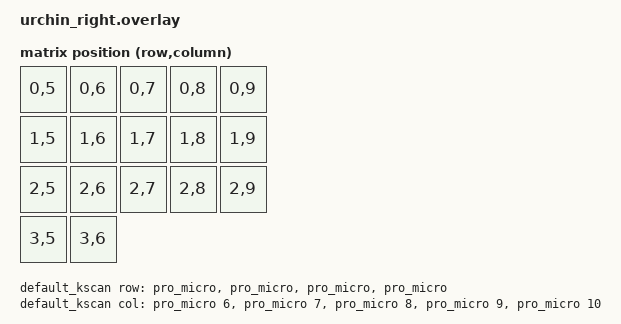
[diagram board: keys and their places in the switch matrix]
#include <dt-bindings/zmk/matrix_transform.h>

/ {
	chosen {
		zmk,kscan = &default_kscan;
		zmk,matrix_transform = &default_transform;
	};

default_kscan: kscan {
		       compatible = "zmk,kscan-gpio-matrix";
		       label = "default_kscan";
	       	       diode-direction = "col2row";

		       row-gpios = <&pro_micro 2(GPIO_ACTIVE_HIGH | GPIO_PULL_DOWN)>,
			           <&pro_micro 3(GPIO_ACTIVE_HIGH | GPIO_PULL_DOWN)>,
				   <&pro_micro 4(GPIO_ACTIVE_HIGH | GPIO_PULL_DOWN)>,
			           <&pro_micro 5(GPIO_ACTIVE_HIGH | GPIO_PULL_DOWN)>;

		       col-gpios = <&pro_micro 6 GPIO_ACTIVE_HIGH>,
			           <&pro_micro 7 GPIO_ACTIVE_HIGH>,
			           <&pro_micro 8 GPIO_ACTIVE_HIGH>,
			           <&pro_micro 9 GPIO_ACTIVE_HIGH>, 
			           <&pro_micro 10 GPIO_ACTIVE_HIGH>;
			  
	       };

default_transform: matrix_transfrom {
			   compatible = "zmk,matrix-transform";
			   rows = <4>;
			   columns = <5>;
			   map = < 
				   RC(0,5) RC(0,6) RC(0,7) RC(0,8) RC(0,9) 
				   RC(1,5) RC(1,6) RC(1,7) RC(1,8) RC(1,9) 
				   RC(2,5) RC(2,6) RC(2,7) RC(2,8) RC(2,9) 
				   RC(3,5) RC(3,6) 
				   >;
		   };
};

